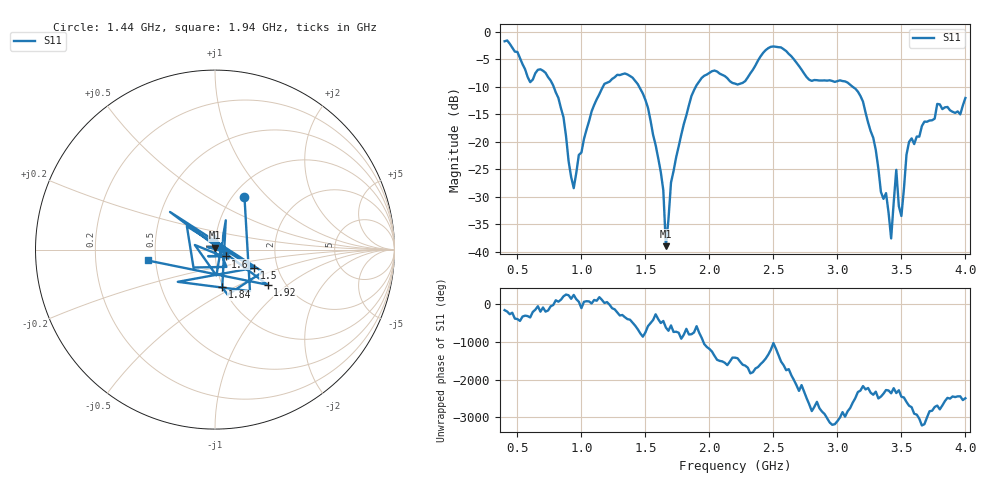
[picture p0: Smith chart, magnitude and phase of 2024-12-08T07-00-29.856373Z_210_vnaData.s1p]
!Created with skrf (http://scikit-rf.org).
# Hz S RI R 50.0
!freq ReS11 ImS11
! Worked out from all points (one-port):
!   181 points, 400 MHz to 4 GHz, reference 50 ohm
!   lowest |S11| = -39.0 dB at 1.66 GHz (marker M1), VSWR 1.02, Z = 49.7 + j1.08 ohm
!   |S11| at or under -10 dB: 783.2 MHz to 1.168 GHz (385.2 MHz wide, 39.5 % of centre); 1.451 GHz to 1.894 GHz (442.7 MHz wide, 26.5 % of centre); 3.118 GHz to end of sweep
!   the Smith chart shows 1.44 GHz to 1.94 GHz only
!   S11 on the Smith chart (normalised r, x): 1.44 GHz: 1.13, +0.74; 1.5 GHz: 1.51, -0.33; 1.6 GHz: 1.12, -0.09; 1.84 GHz: 0.99, -0.44; 1.92 GHz: 1.63, -0.73; 1.94 GHz: 0.45, -0.06
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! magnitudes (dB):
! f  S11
! 400 MHz  -1.7
! 600 MHz  -9.2
! 720 MHz  -7.5
! 860 MHz  -15.6
! 940 MHz  -28.5
! 1.1 GHz  -13.3
! 1.3 GHz  -7.9
! 1.44 GHz  -9.5
! 1.5 GHz  -12.4
! 1.6 GHz  -23.0
! 1.64 GHz  -28.9
! 1.66 GHz  -39.0
! 1.7 GHz  -27.4
! 1.76 GHz  -20.9
! 1.84 GHz  -13.4
! 1.92 GHz  -9.0
! 1.94 GHz  -8.4
! 2.2 GHz  -9.4
! 2.48 GHz  -2.7
! 2.66 GHz  -5.0
! 3.1 GHz  -9.6
! 3.28 GHz  -19.3
! 3.38 GHz  -29.4
! 3.42 GHz  -37.6
! 3.46 GHz  -25.1
! 3.5 GHz  -33.5
! 3.56 GHz  -20.0
! 4 GHz  -12.1
